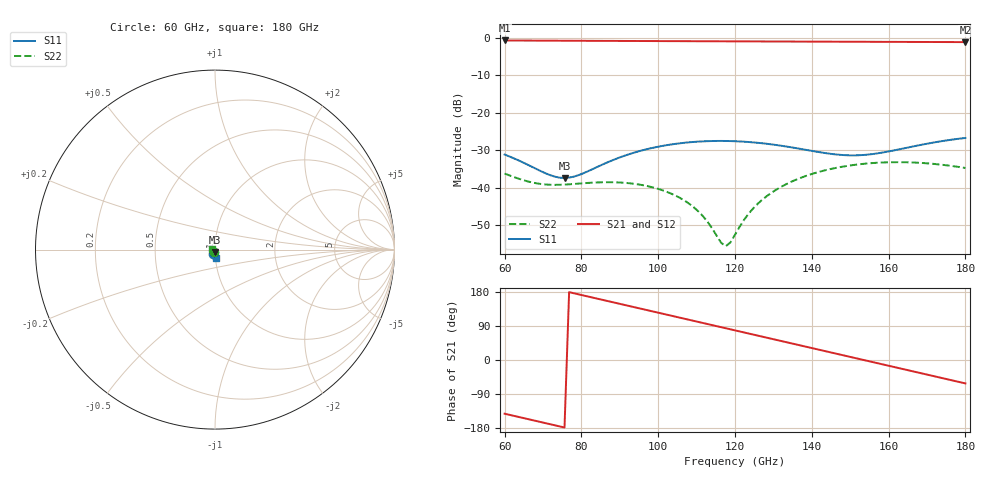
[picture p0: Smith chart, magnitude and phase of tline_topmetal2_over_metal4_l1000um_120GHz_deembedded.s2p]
! Created with skrf 2.0.1 (http://scikit-rf.org).
# GHz S DB R 50.0
!freq dBS11 angS11 dBS21 angS21 dBS12 angS12 dBS22 angS22
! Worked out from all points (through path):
!   101 points, 60 GHz to 180 GHz, reference 50 ohm
!   highest |S21| = -0.73 dB at 60 GHz (marker M1); lowest = -1.2 dB at 180 GHz (marker M2)
!   group delay of S21, straight-line fit = 6.48 ps
!   lowest |S11| = -37.4 dB at 75.6 GHz (marker M3), VSWR 1.03, Z = 50 - j1.35 ohm
!   |S11| at or under -10 dB: start of sweep to end of sweep
!   |S22| runs from -55.6 to -33.2 dB; largest |S21 - S12| = 1e-13
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60  -31.14 -118.7  -0.73 -141.7  -0.73 -141.7  -36.20 -106.4
68.4  -35.05 -116.5  -0.77 -161.4  -0.77 -161.4  -38.83 -98.5
72  -36.68 -106.8  -0.79 -169.8  -0.79 -169.8  -39.20 -93.4
75.6  -37.39 -91.2  -0.80 -178.2  -0.80 -178.2  -39.15 -90.0
80.4  -36.18 -71.9  -0.82 170.6  -0.82 170.6  -38.80 -89.3
90  -31.91 -62.4  -0.86 148.2  -0.86 148.2  -38.59 -98.4
100.8  -28.89 -71.9  -0.90 123.0  -0.90 123.0  -40.55 -116.6
105.6  -28.15 -77.9  -0.92 111.8  -0.92 111.8  -42.66 -124.5
109.2  -27.78 -82.6  -0.93 103.4  -0.93 103.4  -45.14 -128.6
111.6  -27.63 -85.8  -0.94 97.8  -0.94 97.8  -47.50 -128.8
116.4  -27.51 -91.8  -0.96 86.6  -0.96 86.6  -54.67 -99.8
117.6  -27.53 -93.3  -0.96 83.8  -0.96 83.8  -55.56 -76.8
118.8  -27.55 -94.7  -0.97 81.0  -0.97 81.0  -54.58 -53.7
120  -27.59 -96.1  -0.97 78.2  -0.97 78.2  -52.52 -38.4
123.6  -27.81 -99.9  -0.99 69.8  -0.99 69.8  -46.85 -24.7
128.4  -28.29 -104.1  -1.00 58.6  -1.00 58.6  -42.13 -28.6
134.4  -29.17 -107.0  -1.02 44.6  -1.02 44.6  -38.51 -41.2
140.4  -30.23 -106.1  -1.04 30.6  -1.04 30.6  -36.20 -56.6
151.2  -31.36 -93.3  -1.08 5.4  -1.08 5.4  -33.88 -87.8
160.8  -30.16 -80.6  -1.11 -17.0  -1.11 -17.0  -33.18 -118.4
170.4  -28.18 -78.2  -1.14 -39.4  -1.14 -39.4  -33.51 -152.4
180  -26.73 -82.9  -1.18 -61.8  -1.18 -61.8  -34.72 167.8
